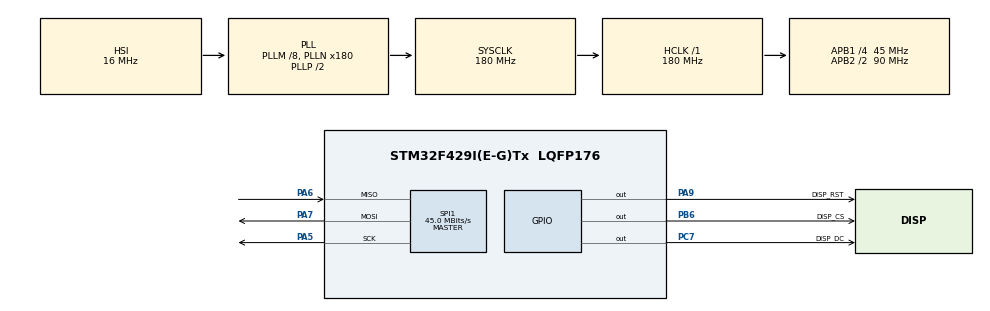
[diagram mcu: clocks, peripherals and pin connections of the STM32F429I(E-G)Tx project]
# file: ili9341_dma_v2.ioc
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Dma.Request0=SPI1_TX
Dma.SPI1_TX.0.Direction=DMA_MEMORY_TO_PERIPH
Dma.SPI1_TX.0.FIFOMode=DMA_FIFOMODE_DISABLE
Dma.SPI1_TX.0.Instance=DMA2_Stream3
Dma.SPI1_TX.0.MemDataAlignment=DMA_MDATAALIGN_HALFWORD
Dma.SPI1_TX.0.MemInc=DMA_MINC_ENABLE
Dma.SPI1_TX.0.Mode=DMA_NORMAL
Dma.SPI1_TX.0.PeriphDataAlignment=DMA_PDATAALIGN_HALFWORD
Dma.SPI1_TX.0.PeriphInc=DMA_PINC_DISABLE
Dma.SPI1_TX.0.Priority=DMA_PRIORITY_LOW
FREERTOS.Tasks01=defaultTask,0,128,StartDefaultTask,Default,NULL,Dynamic,NULL,NULL
Mcu.Family=STM32F4
Mcu.Name=STM32F429I(E-G)Tx
Mcu.Package=LQFP176
NVIC.DMA2_Stream3_IRQn=true\:3\:0\:true\:false\:true\:true\:false\:true
NVIC.PriorityGroup=NVIC_PRIORITYGROUP_4
NVIC.TIM6_DAC_IRQn=true\:0\:0\:false\:false\:true\:false\:false\:true
NVIC.TimeBase=TIM6_DAC_IRQn
NVIC.TimeBaseIP=TIM6
PA13.Mode=Serial_Wire
PA13.Signal=SYS_JTMS-SWDIO
PA14.Mode=Serial_Wire
PA14.Signal=SYS_JTCK-SWCLK
PA5.Mode=Full_Duplex_Master
PA5.Signal=SPI1_SCK
PA6.Mode=Full_Duplex_Master
PA6.Signal=SPI1_MISO
PA7.Mode=Full_Duplex_Master
PA7.Signal=SPI1_MOSI
PA9.GPIO_Label=DISP_RST
PA9.Signal=GPIO_Output
PB6.GPIO_Label=DISP_CS
PB6.Signal=GPIO_Output
PC7.GPIO_Label=DISP_DC
PC7.Signal=GPIO_Output
ProjectManager.HeapSize=0x200
ProjectManager.StackSize=0x400
ProjectManager.TargetToolchain=STM32CubeIDE
RCC.48MHZClocksFreq_Value=90000000
RCC.AHBFreq_Value=180000000
RCC.APB1CLKDivider=RCC_HCLK_DIV4
RCC.APB1Freq_Value=45000000
RCC.APB1TimFreq_Value=90000000
RCC.APB2CLKDivider=RCC_HCLK_DIV2
RCC.APB2Freq_Value=90000000
RCC.APB2TimFreq_Value=180000000
RCC.CortexFreq_Value=180000000
RCC.HCLKFreq_Value=180000000
RCC.HSE_VALUE=25000000
RCC.HSI_VALUE=16000000
RCC.LSE_VALUE=32768
RCC.PLLM=8
RCC.PLLN=180
RCC.SYSCLKFreq_VALUE=180000000
RCC.SYSCLKSource=RCC_SYSCLKSOURCE_PLLCLK
RCC.VCOOutputFreq_Value=360000000
SPI1.BaudRatePrescaler=SPI_BAUDRATEPRESCALER_2
SPI1.CalculateBaudRate=45.0 MBits/s
SPI1.Direction=SPI_DIRECTION_2LINES
SPI1.Mode=SPI_MODE_MASTER
SPI1.VirtualType=VM_MASTER
VP_FREERTOS_VS_CMSIS_V1.Mode=CMSIS_V1
VP_SYS_VS_tim6.Mode=TIM6
board=custom

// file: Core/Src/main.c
/* USER CODE BEGIN Header */
/**
  ******************************************************************************
  * @file           : main.c
  * @brief          : Main program body
  ******************************************************************************
  * @attention
  *
  * <h2><center>&copy; Copyright (c) 2020 STMicroelectronics.
  * All rights reserved.</center></h2>
  *
  * This software component is licensed by ST under BSD 3-Clause license,
  * the "License"; You may not use this file except in compliance with the
  * License. You may obtain a copy of the License at:
  *                        opensource.org/licenses/BSD-3-Clause
  *
  ******************************************************************************
  */
/* USER CODE END Header */
#include "main.h"
#include "cmsis_os.h"
#include "dma.h"
#include "spi.h"
#include "gpio.h"

/* USER CODE BEGIN Includes */
#include "ili9341.h"
/* USER CODE END Includes */

/* USER CODE BEGIN PV */
volatile uint16_t display_buf[ILI_SCREEN_WIDTH * ILI_SCREEN_HEIGHT] __ALIGNED(32); // aligned for DCache
/* USER CODE END PV */

void SystemClock_Config(void);
void MX_FREERTOS_Init(void);

/* USER CODE BEGIN 0 */
void HAL_SPI_TxCpltCallback(SPI_HandleTypeDef *hspi)
{
	if (hspi->Instance == ILI_SPI_HANDLE.Instance)
	{
		ILI_DMA_Callback();
	}
}

/* USER CODE END 0 */

int main(void)
{

  /* MCU Configuration--------------------------------------------------------*/

  /* Reset of all peripherals, Initializes the Flash interface and the Systick. */
  HAL_Init();

  /* Configure the system clock */
  SystemClock_Config();

  /* Initialize all configured peripherals */
  MX_GPIO_Init();
  MX_DMA_Init();
  MX_SPI1_Init();
  /* USER CODE BEGIN 2 */

	ILI_Init();
	/* Splash screen */
	ILI_DMA_Fill(BLACK);
	while (ILI_DMA_Busy())
		;
	/* Draw something */
	uint32_t i;
	for (i = 0; i < (ILI_SCREEN_WIDTH * ILI_SCREEN_HEIGHT); i++)
	{
		if (i < ILI_SCREEN_HEIGHT / 4 * ILI_SCREEN_WIDTH)
		{
			display_buf[i] = RED;
		}
		else if (i < ILI_SCREEN_HEIGHT / 2 * ILI_SCREEN_WIDTH)
		{
			display_buf[i] = GREEN;
		}
		else if (i < ILI_SCREEN_HEIGHT / 4 * 3 * ILI_SCREEN_WIDTH)
		{
			display_buf[i] = BLUE;
		}
		else
		{
			display_buf[i] = YELLOW;
		}
	}
	/* Load frame buffer */
	ILI_DMA_Load((uint16_t*) display_buf);

  /* USER CODE END 2 */

  /* Call init function for freertos objects (in freertos.c) */
  MX_FREERTOS_Init();
  /* Start scheduler */
  osKernelStart();

  /* We should never get here as control is now taken by the scheduler */
  /* Infinite loop */
  while (1)
  {

  }
}

void SystemClock_Config(void)
{
  RCC_OscInitTypeDef RCC_OscInitStruct = {0};
  RCC_ClkInitTypeDef RCC_ClkInitStruct = {0};

  /** Configure the main internal regulator output voltage
  */
  __HAL_RCC_PWR_CLK_ENABLE();
  __HAL_PWR_VOLTAGESCALING_CONFIG(PWR_REGULATOR_VOLTAGE_SCALE1);
  /** Initializes the RCC Oscillators according to the specified parameters
  * in the RCC_OscInitTypeDef structure.
  */
  RCC_OscInitStruct.OscillatorType = RCC_OSCILLATORTYPE_HSI;
  RCC_OscInitStruct.HSIState = RCC_HSI_ON;
  RCC_OscInitStruct.HSICalibrationValue = RCC_HSICALIBRATION_DEFAULT;
  RCC_OscInitStruct.PLL.PLLState = RCC_PLL_ON;
  RCC_OscInitStruct.PLL.PLLSource = RCC_PLLSOURCE_HSI;
  RCC_OscInitStruct.PLL.PLLM = 8;
  RCC_OscInitStruct.PLL.PLLN = 180;
  RCC_OscInitStruct.PLL.PLLP = RCC_PLLP_DIV2;
  RCC_OscInitStruct.PLL.PLLQ = 4;
  if (HAL_RCC_OscConfig(&RCC_OscInitStruct) != HAL_OK)
  {
    Error_Handler();
  }
  /** Activate the Over-Drive mode
  */
  if (HAL_PWREx_EnableOverDrive() != HAL_OK)
  {
    Error_Handler();
  }
  /** Initializes the CPU, AHB and APB buses clocks
  */
  RCC_ClkInitStruct.ClockType = RCC_CLOCKTYPE_HCLK|RCC_CLOCKTYPE_SYSCLK
                              |RCC_CLOCKTYPE_PCLK1|RCC_CLOCKTYPE_PCLK2;
  RCC_ClkInitStruct.SYSCLKSource = RCC_SYSCLKSOURCE_PLLCLK;
  RCC_ClkInitStruct.AHBCLKDivider = RCC_SYSCLK_DIV1;
  RCC_ClkInitStruct.APB1CLKDivider = RCC_HCLK_DIV4;
  RCC_ClkInitStruct.APB2CLKDivider = RCC_HCLK_DIV2;

  if (HAL_RCC_ClockConfig(&RCC_ClkInitStruct, FLASH_LATENCY_5) != HAL_OK)
  {
    Error_Handler();
  }
}

void HAL_TIM_PeriodElapsedCallback(TIM_HandleTypeDef *htim)
{
  if (htim->Instance == TIM6) {
    HAL_IncTick();
  }
}

void Error_Handler(void)
{
}

/************************ (C) COPYRIGHT STMicroelectronics *****END OF FILE****/
